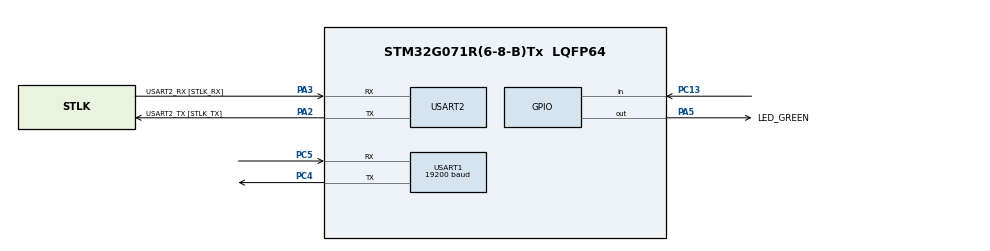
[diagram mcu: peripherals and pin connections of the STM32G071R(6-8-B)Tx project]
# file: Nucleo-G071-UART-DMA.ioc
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Dma.Request0=USART1_RX
Dma.Request1=USART1_TX
Dma.Request2=USART2_RX
Dma.Request3=USART2_TX
Dma.USART1_RX.0.Direction=DMA_PERIPH_TO_MEMORY
Dma.USART1_RX.0.EventEnable=DISABLE
Dma.USART1_RX.0.Instance=DMA1_Channel1
Dma.USART1_RX.0.MemDataAlignment=DMA_MDATAALIGN_BYTE
Dma.USART1_RX.0.MemInc=DMA_MINC_ENABLE
Dma.USART1_RX.0.Mode=DMA_CIRCULAR
Dma.USART1_RX.0.PeriphDataAlignment=DMA_PDATAALIGN_BYTE
Dma.USART1_RX.0.PeriphInc=DMA_PINC_DISABLE
Dma.USART1_RX.0.Polarity=HAL_DMAMUX_REQ_GEN_RISING
Dma.USART1_RX.0.Priority=DMA_PRIORITY_LOW
Dma.USART1_RX.0.RequestNumber=1
Dma.USART1_RX.0.SignalID=NONE
Dma.USART1_RX.0.SyncEnable=DISABLE
Dma.USART1_RX.0.SyncPolarity=HAL_DMAMUX_SYNC_NO_EVENT
Dma.USART1_RX.0.SyncRequestNumber=1
Dma.USART1_RX.0.SyncSignalID=NONE
Dma.USART1_TX.1.Direction=DMA_MEMORY_TO_PERIPH
Dma.USART1_TX.1.EventEnable=DISABLE
Dma.USART1_TX.1.Instance=DMA1_Channel2
Dma.USART1_TX.1.MemDataAlignment=DMA_MDATAALIGN_BYTE
Dma.USART1_TX.1.MemInc=DMA_MINC_ENABLE
Dma.USART1_TX.1.Mode=DMA_NORMAL
Dma.USART1_TX.1.PeriphDataAlignment=DMA_PDATAALIGN_BYTE
Dma.USART1_TX.1.PeriphInc=DMA_PINC_DISABLE
Dma.USART1_TX.1.Polarity=HAL_DMAMUX_REQ_GEN_RISING
Dma.USART1_TX.1.Priority=DMA_PRIORITY_LOW
Dma.USART1_TX.1.RequestNumber=1
Dma.USART1_TX.1.SignalID=NONE
Dma.USART1_TX.1.SyncEnable=DISABLE
Dma.USART1_TX.1.SyncPolarity=HAL_DMAMUX_SYNC_NO_EVENT
Dma.USART1_TX.1.SyncRequestNumber=1
Dma.USART1_TX.1.SyncSignalID=NONE
Dma.USART2_RX.2.Direction=DMA_PERIPH_TO_MEMORY
Dma.USART2_RX.2.EventEnable=DISABLE
Dma.USART2_RX.2.Instance=DMA1_Channel3
Dma.USART2_RX.2.MemDataAlignment=DMA_MDATAALIGN_BYTE
Dma.USART2_RX.2.MemInc=DMA_MINC_ENABLE
Dma.USART2_RX.2.Mode=DMA_CIRCULAR
Dma.USART2_RX.2.PeriphDataAlignment=DMA_PDATAALIGN_BYTE
Dma.USART2_RX.2.PeriphInc=DMA_PINC_DISABLE
Dma.USART2_RX.2.Polarity=HAL_DMAMUX_REQ_GEN_RISING
Dma.USART2_RX.2.Priority=DMA_PRIORITY_LOW
Dma.USART2_RX.2.RequestNumber=1
Dma.USART2_RX.2.SignalID=NONE
Dma.USART2_RX.2.SyncEnable=DISABLE
Dma.USART2_RX.2.SyncPolarity=HAL_DMAMUX_SYNC_NO_EVENT
Dma.USART2_RX.2.SyncRequestNumber=1
Dma.USART2_RX.2.SyncSignalID=NONE
Dma.USART2_TX.3.Direction=DMA_MEMORY_TO_PERIPH
Dma.USART2_TX.3.EventEnable=DISABLE
Dma.USART2_TX.3.Instance=DMA1_Channel4
Dma.USART2_TX.3.MemDataAlignment=DMA_MDATAALIGN_BYTE
Dma.USART2_TX.3.MemInc=DMA_MINC_ENABLE
Dma.USART2_TX.3.Mode=DMA_NORMAL
Dma.USART2_TX.3.PeriphDataAlignment=DMA_PDATAALIGN_BYTE
Dma.USART2_TX.3.PeriphInc=DMA_PINC_DISABLE
Dma.USART2_TX.3.Polarity=HAL_DMAMUX_REQ_GEN_RISING
Dma.USART2_TX.3.Priority=DMA_PRIORITY_LOW
Dma.USART2_TX.3.RequestNumber=1
Dma.USART2_TX.3.SignalID=NONE
Dma.USART2_TX.3.SyncEnable=DISABLE
Dma.USART2_TX.3.SyncPolarity=HAL_DMAMUX_SYNC_NO_EVENT
Dma.USART2_TX.3.SyncRequestNumber=1
Dma.USART2_TX.3.SyncSignalID=NONE
Mcu.Family=STM32G0
Mcu.Name=STM32G071R(6-8-B)Tx
Mcu.Package=LQFP64
NVIC.DMA1_Ch4_7_DMAMUX1_OVR_IRQn=true\:0\:0\:false\:false\:true\:false\:true
NVIC.DMA1_Channel1_IRQn=true\:0\:0\:false\:false\:true\:false\:true
NVIC.DMA1_Channel2_3_IRQn=true\:0\:0\:false\:false\:true\:false\:true
NVIC.USART1_IRQn=true\:0\:0\:false\:false\:true\:true\:true
NVIC.USART2_IRQn=true\:0\:0\:false\:false\:true\:true\:true
PA13.GPIO_Label=TMS
PA13.Mode=Serial_Wire
PA13.Signal=SYS_SWDIO
PA14-BOOT0.GPIO_Label=TCK
PA14-BOOT0.Mode=Serial_Wire
PA14-BOOT0.Signal=SYS_SWCLK
PA2.GPIO_Label=USART2_TX [STLK_TX]
PA2.GPIO_PuPd=GPIO_PULLUP
PA2.Mode=Asynchronous
PA2.Signal=USART2_TX
PA3.GPIO_Label=USART2_RX [STLK_RX]
PA3.GPIO_PuPd=GPIO_PULLUP
PA3.Mode=Asynchronous
PA3.Signal=USART2_RX
PA5.GPIO_Label=LED_GREEN
PA5.GPIO_Speed=GPIO_SPEED_FREQ_HIGH
PA5.Signal=GPIO_Output
PC13.Signal=GPIO_Input
PC14-OSC32_IN\ (PC14).Mode=LSE-External-Oscillator
PC14-OSC32_IN\ (PC14).Signal=RCC_OSC32_IN
PC15-OSC32_OUT\ (PC15).Mode=LSE-External-Oscillator
PC15-OSC32_OUT\ (PC15).Signal=RCC_OSC32_OUT
PC4.Mode=Asynchronous
PC4.Signal=USART1_TX
PC5.Mode=Asynchronous
PC5.Signal=USART1_RX
PF0-OSC_IN\ (PF0).GPIO_Label=MCO
PF0-OSC_IN\ (PF0).Mode=HSE-External-Clock-Source
PF0-OSC_IN\ (PF0).Signal=RCC_OSC_IN
ProjectManager.HeapSize=0x200
ProjectManager.StackSize=0x400
ProjectManager.TargetToolchain=STM32CubeIDE
RCC.AHBFreq_Value=16000000
RCC.CortexFreq_Value=16000000
RCC.EXTERNAL_CLOCK_VALUE=12288000
RCC.HCLKFreq_Value=16000000
RCC.HSE_VALUE=8000000
RCC.HSI_VALUE=16000000
RCC.SYSCLKFreq_VALUE=16000000
RCC.VCOOutputFreq_Value=128000000
USART1.BaudRate=19200
USART1.RxPinLevelInvertParam=ADVFEATURE_RXINV_ENABLE
USART1.TxPinLevelInvertParam=ADVFEATURE_TXINV_ENABLE
USART1.VirtualMode-Asynchronous=VM_ASYNC
USART2.VirtualMode-Asynchronous=VM_ASYNC
VP_SYS_VS_DBSignals.Mode=DisableDeadBatterySignals
board=NUCLEO-G071RB

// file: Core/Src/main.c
/* USER CODE BEGIN Header */
/**
 ******************************************************************************
 * @file           : main.c
 * @brief          : Main program body
 ******************************************************************************
 * @attention
 *
 * <h2><center>&copy; Copyright (c) 2020 STMicroelectronics.
 * All rights reserved.</center></h2>
 *
 * This software component is licensed by ST under BSD 3-Clause license,
 * the "License"; You may not use this file except in compliance with the
 * License. You may obtain a copy of the License at:
 *                        opensource.org/licenses/BSD-3-Clause
 *
 ******************************************************************************
 */
/* USER CODE END Header */

#include "main.h"

/* USER CODE BEGIN Includes */
#include "dma_circular_alt.h"
#include "frame_decoder.h"
/* USER CODE END Includes */

UART_HandleTypeDef huart1;
UART_HandleTypeDef huart2;
DMA_HandleTypeDef hdma_usart1_rx;
DMA_HandleTypeDef hdma_usart1_tx;
DMA_HandleTypeDef hdma_usart2_rx;
DMA_HandleTypeDef hdma_usart2_tx;

/* USER CODE BEGIN PV */

BSP_HandleTypeDef bsp = { 0 };
Uart_Receive_StatusTypeDef rx_status;
uint32_t timeout = UART1_RECEIVE_TIMEOUT;
uint8_t tmp8t = 0;
uint32_t counter = 0;
uint32_t error_counter = 0;
uint8_t buffer_rx[3];
/* USER CODE END PV */

void SystemClock_Config(void);
static void MX_GPIO_Init(void);
static void MX_DMA_Init(void);
static void MX_USART1_UART_Init(void);
static void MX_USART2_UART_Init(void);

/* USER CODE BEGIN 0 */
void HAL_UART_RxCpltCallback(UART_HandleTypeDef *huart)
{
	__NOP();
}
/* USER CODE BEGIN 0 */

/* USER CODE END 0 */

int main(void)
{

  /* MCU Configuration--------------------------------------------------------*/

  /* Reset of all peripherals, Initializes the Flash interface and the Systick. */
  HAL_Init();

  /* Configure the system clock */
  SystemClock_Config();

  /* Initialize all configured peripherals */
  MX_GPIO_Init();
  MX_DMA_Init();
  MX_USART1_UART_Init();
  MX_USART2_UART_Init();
  /* USER CODE BEGIN 2 */

  //HAL_UART_Receive_DMA(&huart2, buffer_rx, 3);

	/****************************************************************
	 *      _   _  __  _ ___    __              _
	 *     |_) |_ (_  |_  |    (_  |   /\ \  / |_
	 *     | \ |_ __) |_  |    __) |_ /--\ \/  |_
	 *
	 ***************************************************************/

	Master_Initiate_Reset(&bsp);

	/****************************************************************/

  /* USER CODE END 2 */

  /* Infinite loop */
  /* USER CODE BEGIN WHILE */

	while (1)
	{

//	if(HAL_GPIO_ReadPin(GPIOC, GPIO_PIN_13)==GPIO_PIN_RESET)
//		{

		for (uint8_t i = 0; i <= 8; i++)
		{
			__DEST_ADDR(i);
			__PAYLOAD_LOW(tmp8t);
			Master_Send_FC_Relay_Write(&bsp);
			Uart_Transmit(&huart1, &bsp);
			if (Uart_Receive(&huart1, &bsp, &timeout) == RECEIVE_OK)
			{

				if (Check_Frame_CRC16(bsp.rx_dma_buffer, FRAME_SIZE) == FRAME_OK)
				{
					if (Master_Check_ACK(&bsp) == FRAME_ERROR)
					{
						error_counter++;
						LL_GPIO_SetOutputPin(LED_GREEN_GPIO_Port, LED_GREEN_Pin);
					}
				}
			}
			else
			{
				error_counter++;
				LL_GPIO_SetOutputPin(LED_GREEN_GPIO_Port, LED_GREEN_Pin);
			}
			Clear_Buffer(bsp.rx_dma_buffer, DMA_RX_BUFFER_SIZE);
			counter++;
			//HAL_UART_Transmit_DMA(&huart2, "HELLO\n\r", 7);	// start DMA transfert
			HAL_Delay(50);

		}
		tmp8t = !tmp8t;
	}
    /* USER CODE END WHILE */

}

void SystemClock_Config(void)
{
  /* HSI configuration and activation */
  LL_RCC_HSI_Enable();
  while(LL_RCC_HSI_IsReady() != 1)
  {
  };

  /* Set AHB prescaler*/
  LL_RCC_SetAHBPrescaler(LL_RCC_SYSCLK_DIV_1);

  /* Sysclk activation on the HSI */
  LL_RCC_SetSysClkSource(LL_RCC_SYS_CLKSOURCE_HSI);
  while(LL_RCC_GetSysClkSource() != LL_RCC_SYS_CLKSOURCE_STATUS_HSI)
  {
  };

  /* Set APB1 prescaler*/
  LL_RCC_SetAPB1Prescaler(LL_RCC_APB1_DIV_1);
  LL_SetSystemCoreClock(16000000);

   /* Update the time base */
  if (HAL_InitTick (TICK_INT_PRIORITY) != HAL_OK)
  {
    Error_Handler();
  };
  /* Update CMSIS variable (which can be updated also through SystemCoreClockUpdate function) */
  LL_SetSystemCoreClock(16000000);
  LL_RCC_SetUSARTClockSource(LL_RCC_USART1_CLKSOURCE_PCLK1);
  LL_RCC_SetUSARTClockSource(LL_RCC_USART2_CLKSOURCE_PCLK1);
}

static void MX_USART1_UART_Init(void)
{

  huart1.Instance = USART1;
  huart1.Init.BaudRate = 19200;
  huart1.Init.WordLength = UART_WORDLENGTH_8B;
  huart1.Init.StopBits = UART_STOPBITS_1;
  huart1.Init.Parity = UART_PARITY_NONE;
  huart1.Init.Mode = UART_MODE_TX_RX;
  huart1.Init.HwFlowCtl = UART_HWCONTROL_NONE;
  huart1.Init.OverSampling = UART_OVERSAMPLING_16;
  huart1.Init.OneBitSampling = UART_ONE_BIT_SAMPLE_DISABLE;
  huart1.Init.ClockPrescaler = UART_PRESCALER_DIV1;
  huart1.AdvancedInit.AdvFeatureInit = UART_ADVFEATURE_TXINVERT_INIT|UART_ADVFEATURE_RXINVERT_INIT;
  huart1.AdvancedInit.TxPinLevelInvert = UART_ADVFEATURE_TXINV_ENABLE;
  huart1.AdvancedInit.RxPinLevelInvert = UART_ADVFEATURE_RXINV_ENABLE;
  if (HAL_UART_Init(&huart1) != HAL_OK)
  {
    Error_Handler();
  }
  if (HAL_UARTEx_SetTxFifoThreshold(&huart1, UART_TXFIFO_THRESHOLD_1_8) != HAL_OK)
  {
    Error_Handler();
  }
  if (HAL_UARTEx_SetRxFifoThreshold(&huart1, UART_RXFIFO_THRESHOLD_1_8) != HAL_OK)
  {
    Error_Handler();
  }
  if (HAL_UARTEx_DisableFifoMode(&huart1) != HAL_OK)
  {
    Error_Handler();
  }
  /* USER CODE BEGIN USART1_Init 2 */
	__HAL_UART_DISABLE_IT(&huart1, UART_IT_PE);
  /* USER CODE END USART1_Init 2 */

}

static void MX_USART2_UART_Init(void)
{

  huart2.Instance = USART2;
  huart2.Init.BaudRate = 115200;
  huart2.Init.WordLength = UART_WORDLENGTH_8B;
  huart2.Init.StopBits = UART_STOPBITS_1;
  huart2.Init.Parity = UART_PARITY_NONE;
  huart2.Init.Mode = UART_MODE_TX_RX;
  huart2.Init.HwFlowCtl = UART_HWCONTROL_NONE;
  huart2.Init.OverSampling = UART_OVERSAMPLING_16;
  huart2.Init.OneBitSampling = UART_ONE_BIT_SAMPLE_DISABLE;
  huart2.Init.ClockPrescaler = UART_PRESCALER_DIV1;
  huart2.AdvancedInit.AdvFeatureInit = UART_ADVFEATURE_NO_INIT;
  if (HAL_UART_Init(&huart2) != HAL_OK)
  {
    Error_Handler();
  }
  if (HAL_UARTEx_SetTxFifoThreshold(&huart2, UART_TXFIFO_THRESHOLD_1_8) != HAL_OK)
  {
    Error_Handler();
  }
  if (HAL_UARTEx_SetRxFifoThreshold(&huart2, UART_RXFIFO_THRESHOLD_1_8) != HAL_OK)
  {
    Error_Handler();
  }
  if (HAL_UARTEx_DisableFifoMode(&huart2) != HAL_OK)
  {
    Error_Handler();
  }

}

static void MX_DMA_Init(void)
{

  /* DMA controller clock enable */
  __HAL_RCC_DMA1_CLK_ENABLE();

  /* DMA interrupt init */
  /* DMA1_Channel1_IRQn interrupt configuration */
  //HAL_NVIC_SetPriority(DMA1_Channel1_IRQn, 0, 0);
  //HAL_NVIC_EnableIRQ(DMA1_Channel1_IRQn);
  /* DMA1_Channel2_3_IRQn interrupt configuration */
  HAL_NVIC_SetPriority(DMA1_Channel2_3_IRQn, 0, 0);
  HAL_NVIC_EnableIRQ(DMA1_Channel2_3_IRQn);
  /* DMA1_Ch4_7_DMAMUX1_OVR_IRQn interrupt configuration */
  HAL_NVIC_SetPriority(DMA1_Ch4_7_DMAMUX1_OVR_IRQn, 0, 0);
  HAL_NVIC_EnableIRQ(DMA1_Ch4_7_DMAMUX1_OVR_IRQn);

}

static void MX_GPIO_Init(void)
{
  LL_GPIO_InitTypeDef GPIO_InitStruct = {0};

  /* GPIO Ports Clock Enable */
  LL_IOP_GRP1_EnableClock(LL_IOP_GRP1_PERIPH_GPIOC);
  LL_IOP_GRP1_EnableClock(LL_IOP_GRP1_PERIPH_GPIOF);
  LL_IOP_GRP1_EnableClock(LL_IOP_GRP1_PERIPH_GPIOA);

  /**/
  LL_GPIO_ResetOutputPin(LED_GREEN_GPIO_Port, LED_GREEN_Pin);

  /**/
  GPIO_InitStruct.Pin = LL_GPIO_PIN_13;
  GPIO_InitStruct.Mode = LL_GPIO_MODE_INPUT;
  GPIO_InitStruct.Pull = LL_GPIO_PULL_NO;
  LL_GPIO_Init(GPIOC, &GPIO_InitStruct);

  /**/
  GPIO_InitStruct.Pin = LED_GREEN_Pin;
  GPIO_InitStruct.Mode = LL_GPIO_MODE_OUTPUT;
  GPIO_InitStruct.Speed = LL_GPIO_SPEED_FREQ_HIGH;
  GPIO_InitStruct.OutputType = LL_GPIO_OUTPUT_PUSHPULL;
  GPIO_InitStruct.Pull = LL_GPIO_PULL_NO;
  LL_GPIO_Init(LED_GREEN_GPIO_Port, &GPIO_InitStruct);

}

void Error_Handler(void)
{
}

/************************ (C) COPYRIGHT STMicroelectronics *****END OF FILE****/
